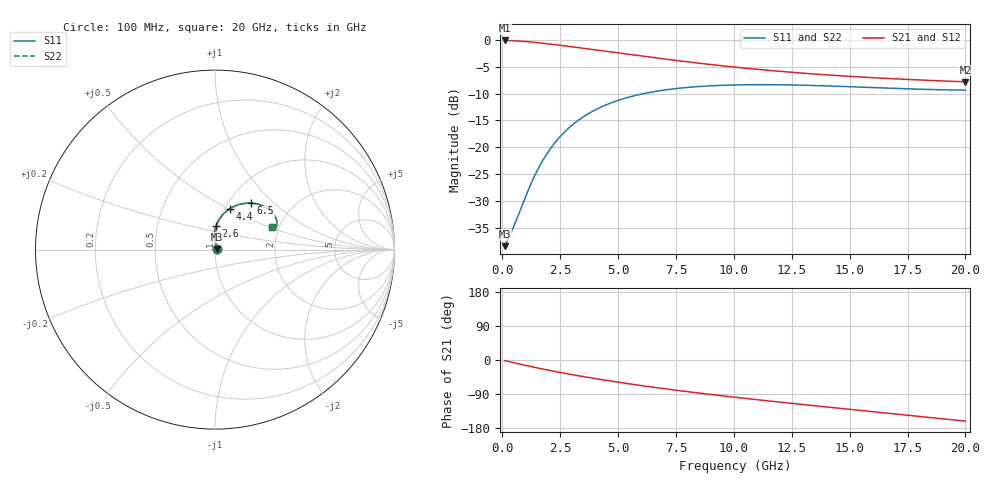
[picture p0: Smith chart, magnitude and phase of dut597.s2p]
! Touchstone file exported from HFSS 2024.1.0
!  File:  C:/UserFiles/LocalFiles/RDL_TSV_Batchsim/temp_RDL_TSV_597_1779761083.aedt
!  Generated:  10:19:31 AM May 26, 2026
!  Design:  RDL_TSV
!  Project:  temp_RDL_TSV_597_1779761083
!  Setup:  Setup1
!  Solution:  Sweep
! Variables:
!  dtsv = 8.6um
!  hbump = 3um
!  htsv = 62.18um
!  ldown = 176.86um
!  lrdl = 450.6um
!  p = 40
!  p1 = 57.33um
!  rhole = 10um
!  subl = 2332.98um
!  t = 450um
!  tdown = 2.29um
!  trdl = 4.53um
!  viad = 10um
!  wdown = 29.95um
!  wrdl = 18.04um
!  xbump = 18um
# GHz S MA R 50.000000
! Terminal data exported
! Port[1] = TM1_1_T1
! Port[2] = TM1_4_T1
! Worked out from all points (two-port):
!   200 points, 100 MHz to 20 GHz, reference 50 ohm
!   highest |S21| = -0.10 dB at 100 MHz (marker M1); lowest = -7.8 dB at 20 GHz (marker M2)
!   |S21| within 3 dB of the highest: start of sweep to 6.175 GHz
!   lowest |S11| = -38.5 dB at 100 MHz (marker M3), VSWR 1.02, Z = 51.2 + j0.34 ohm
!   |S11| at or under -10 dB: start of sweep to 6.117 GHz
!   |S22| runs from -38.5 to -8.4 dB; largest |S21 - S12| = 1e-14
!   S11 on the Smith chart (normalised r, x): 100 MHz: 1.02, +0.01; 2.6 GHz: 0.98, +0.26; 4.4 GHz: 1.06, +0.51; 6.5 GHz: 1.26, +0.73; 20 GHz: 1.83, +0.52
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0.1  0.01195 16.1  0.9882 -1.5  0.9882 -1.5  0.01195 16.1
! Gamma 0 0 0 0
! Port Impedance 50 0 50 0
0.5  0.01842 56.6  0.9814 -7.2  0.9814 -7.2  0.01842 56.5
0.8  0.0266 75.5  0.9729 -11.4  0.9729 -11.4  0.0266 75.5
1.2  0.0436 88.6  0.9576 -16.8  0.9576 -16.8  0.04359 88.6
1.5  0.06001 92.1  0.9437 -20.8  0.9437 -20.8  0.05999 92.0
1.7  0.07217 92.6  0.9338 -23.3  0.9338 -23.3  0.07214 92.6
2  0.09161 91.9  0.918 -27.0  0.918 -27.0  0.09157 91.9
2.3  0.1119 90.1  0.9017 -30.6  0.9017 -30.6  0.1118 90.1
2.6  0.1324 87.6  0.8851 -34.0  0.8851 -34.0  0.1324 87.6
3  0.1595 83.8  0.8628 -38.5  0.8628 -38.5  0.1594 83.7
3.5  0.1919 78.7  0.8352 -43.8  0.8352 -43.8  0.1918 78.7
4.4  0.2438 69.8  0.7868 -52.8  0.7868 -52.8  0.2436 69.7
5.4  0.2901 60.8  0.7361 -62.2  0.7361 -62.2  0.2899 60.7
6.5  0.3279 52.2  0.685 -71.7  0.685 -71.7  0.3276 52.2
6.8  0.3361 50.1  0.672 -74.2  0.672 -74.2  0.3358 50.1
8.4  0.3665 40.5  0.6096 -86.6  0.6096 -86.6  0.3662 40.4
10.1  0.3805 32.6  0.5559 -98.7  0.5559 -98.7  0.3801 32.6
11.7  0.3821 27.1  0.5157 -109.3  0.5157 -109.3  0.3817 27.1
13.4  0.376 23.1  0.4821 -120.2  0.4821 -120.2  0.3757 23.0
15  0.3663 20.7  0.4573 -130.2  0.4573 -130.2  0.366 20.7
16.7  0.3548 19.7  0.4364 -140.7  0.4364 -140.7  0.3545 19.7
20  0.3402 21.6  0.4065 -161.3  0.4065 -161.3  0.3399 21.6
